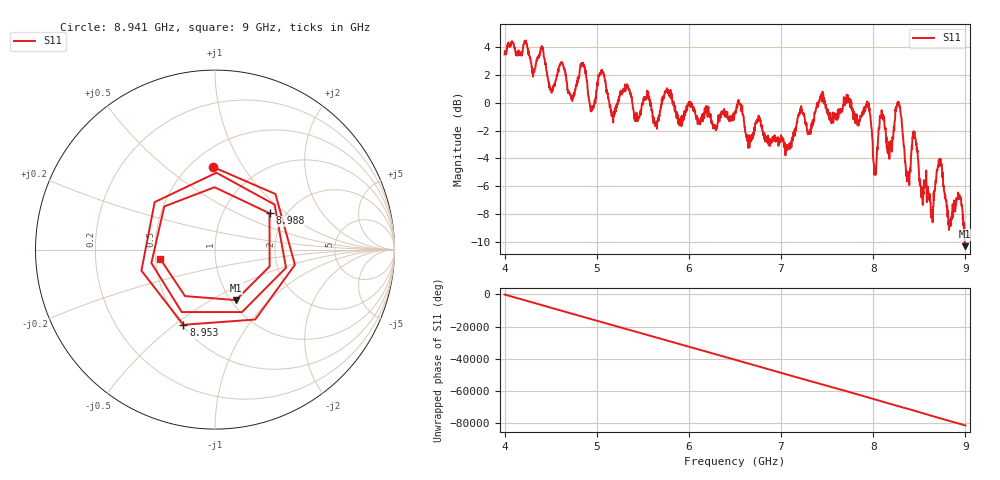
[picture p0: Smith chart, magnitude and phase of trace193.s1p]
! Created with skrf 1.8.0 (http://scikit-rf.org).
# Hz S RI R 50.0
!freq ReS11 ImS11
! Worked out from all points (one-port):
!   1601 points, 4 GHz to 9 GHz, reference 50 ohm
!   lowest |S11| = -10.3 dB at 8.994 GHz (marker M1), VSWR 1.88, Z = 52.8 - j32.7 ohm
!   |S11| at or under -10 dB: 8.991448 GHz to end of sweep
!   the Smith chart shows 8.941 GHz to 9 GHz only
!   S11 on the Smith chart (normalised r, x): 8.941 GHz: 0.64, +0.75; 8.953 GHz: 0.51, -0.54; 8.988 GHz: 1.65, +0.77; 9 GHz: 0.53, -0.06
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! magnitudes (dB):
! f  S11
! 4 GHz  3.5
! 4.506 GHz  0.9
! 4.625 GHz  2.8
! 4.734 GHz  0.1
! 4.856 GHz  2.7
! 4.947 GHz  -0.4
! 5.05 GHz  2.3
! 5.169 GHz  -0.9
! 5.25 GHz  0.6
! 5.875 GHz  -1.1
! 6.5 GHz  -0.7
! 7.125 GHz  -2.7
! 7.75 GHz  -0.3
! 7.944 GHz  0.0
! 8.022 GHz  -5.2
! 8.084 GHz  -1.1
! 8.178 GHz  -3.2
! 8.272 GHz  0.0
! 8.375 GHz  -5.2
! 8.45 GHz  -2.1
! 8.628 GHz  -8.2
! 8.722 GHz  -4.3
! 8.828 GHz  -8.5
! 8.941 GHz  -6.7
! 8.953 GHz  -6.9
! 8.988 GHz  -8.8
! 8.994 GHz  -10.3
! 9 GHz  -10.2
